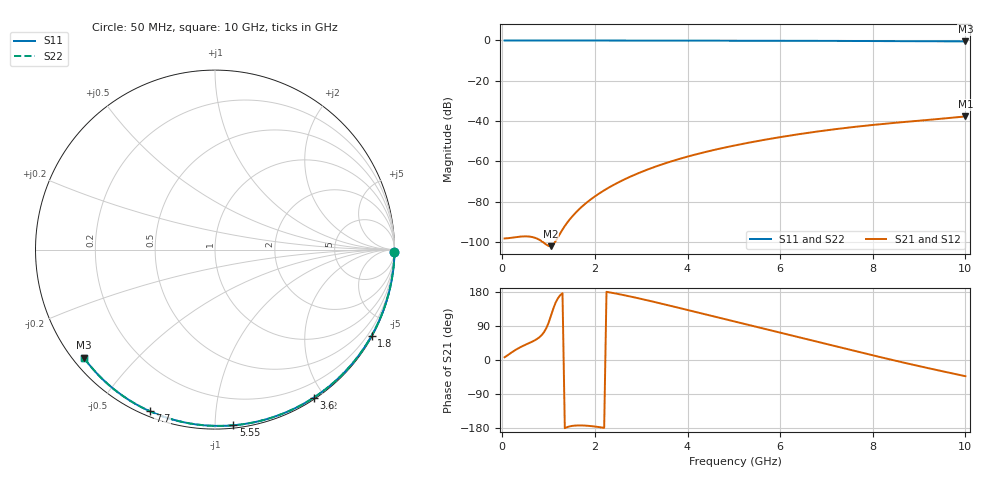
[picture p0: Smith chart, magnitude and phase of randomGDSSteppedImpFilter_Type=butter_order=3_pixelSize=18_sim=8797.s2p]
! freq	dB(S11)	phase(S11)	dB(S12)	phase(S12)
!  dB(S21)	phase(S21)	dB(S22)	phase(S22)
!S-par simulation data
#  GHz  S  DB  R 50
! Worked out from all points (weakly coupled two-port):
!   200 points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, 50 MHz to 10 GHz, reference 50 ohm
!   highest |S21| = -37.71 dB at 10 GHz (marker M1); lowest = -102.1 dB at 1.05 GHz (marker M2)
!   lowest |S11| = -0.5 dB at 10 GHz (marker M3), VSWR 36.67, Z = 1.54 - j18 ohm
!   |S11| at or under -10 dB: nowhere
!   |S22| runs from -0.5 to 0.0 dB; largest |S21 - S12| = 0
!   S11 on the Smith chart (normalised r, x): 50 MHz: open; 1.8 GHz: 0.03, -3.88; 3.6 GHz: 0.02, -1.87; 5.55 GHz: 0.02, -1.11; 7.7 GHz: 0.02, -0.67; 10 GHz: 0.03, -0.36
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0.05  -0.00 -0.8  -98.26 7.3  -98.26 7.3  -0.00 -0.8
0.55  -0.01 -8.9  -97.24 43.0  -97.24 43.0  -0.01 -8.9
1.05  -0.02 -17.0  -102.08 116.2  -102.08 116.2  -0.02 -17.0
1.75  -0.04 -28.1  -81.84 -172.8  -81.84 -172.8  -0.04 -28.1
1.8  -0.04 -28.9  -80.86 -173.2  -80.86 -173.2  -0.04 -28.9
1.85  -0.04 -29.7  -79.94 -173.6  -79.94 -173.6  -0.04 -29.6
2.15  -0.04 -34.3  -75.07 -178.1  -75.07 -178.1  -0.04 -34.3
2.35  -0.05 -37.4  -72.35 177.7  -72.35 177.7  -0.05 -37.4
2.55  -0.05 -40.5  -69.92 173.1  -69.92 173.1  -0.05 -40.5
2.95  -0.06 -46.6  -65.75 162.6  -65.75 162.6  -0.06 -46.6
3.4  -0.07 -53.4  -61.86 149.8  -61.86 149.8  -0.07 -53.4
3.6  -0.08 -56.4  -60.35 143.9  -60.35 143.9  -0.08 -56.3
3.9  -0.08 -60.8  -58.28 135.0  -58.28 135.0  -0.08 -60.7
4.3  -0.09 -66.5  -55.83 123.0  -55.83 123.0  -0.09 -66.5
5.05  -0.12 -77.1  -51.96 100.6  -51.96 100.6  -0.12 -77.1
5.55  -0.14 -84.0  -49.76 85.8  -49.76 85.8  -0.14 -84.0
6.1  -0.16 -91.4  -47.60 69.4  -47.60 69.4  -0.16 -91.4
6.7  -0.19 -99.3  -45.52 51.5  -45.52 51.5  -0.19 -99.2
7.7  -0.26 -112.1  -42.65 21.3  -42.65 21.3  -0.26 -112.0
8.35  -0.31 -120.2  -41.15 2.1  -41.15 2.1  -0.31 -120.1
9.2  -0.39 -130.7  -39.41 -21.6  -39.41 -21.6  -0.39 -130.6
10  -0.47 -140.5  -37.71 -42.8  -37.71 -42.8  -0.47 -140.4
